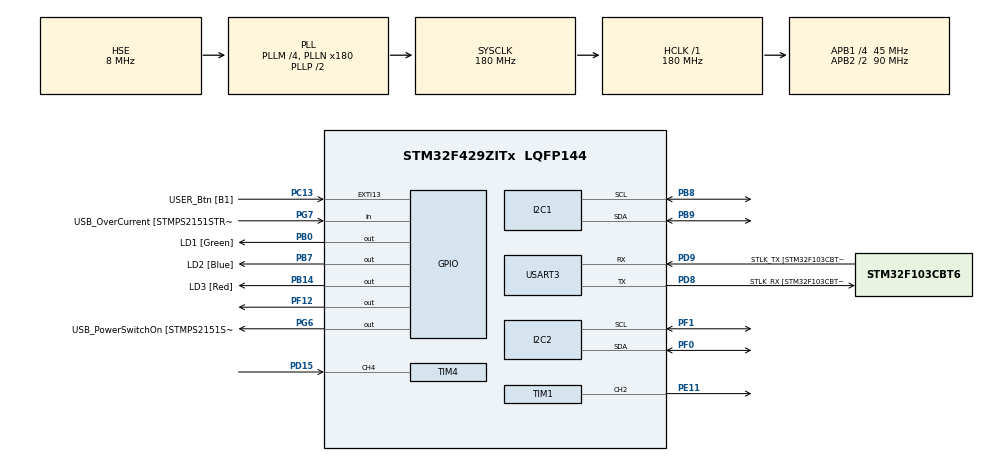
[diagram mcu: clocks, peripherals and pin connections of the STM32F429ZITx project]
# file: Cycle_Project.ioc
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FREERTOS.Queues01=dataQueue01,16,uint16_t,0,Dynamic,NULL,NULL
FREERTOS.Tasks01=AccelTask_Init,24,128,AccelTask,Default,NULL,Dynamic,NULL,NULL;ultraTask_Init,24,128,UltrasonicTask,Default,NULL,Dynamic,NULL,NULL;LCDTask_Init,40,128,LCDTask,Default,NULL,Dynamic,NULL,NULL
Mcu.Family=STM32F4
Mcu.Name=STM32F429ZITx
Mcu.Package=LQFP144
NVIC.I2C1_ER_IRQn=true\:5\:0\:false\:false\:true\:true\:true\:true\:true
NVIC.I2C1_EV_IRQn=true\:5\:0\:false\:false\:true\:true\:true\:true\:true
NVIC.PriorityGroup=NVIC_PRIORITYGROUP_4
NVIC.TIM4_IRQn=true\:5\:0\:false\:false\:true\:true\:true\:true\:true
PA13.GPIO_Label=TMS
PA13.Mode=Serial_Wire
PA13.Signal=SYS_JTMS-SWDIO
PA14.GPIO_Label=TCK
PA14.Mode=Serial_Wire
PA14.Signal=SYS_JTCK-SWCLK
PB0.GPIO_Label=LD1 [Green]
PB0.Signal=GPIO_Output
PB14.GPIO_Label=LD3 [Red]
PB14.Signal=GPIO_Output
PB7.GPIO_Label=LD2 [Blue]
PB7.Signal=GPIO_Output
PB8.Mode=I2C
PB8.Signal=I2C1_SCL
PB9.Mode=I2C
PB9.Signal=I2C1_SDA
PC13.GPIO_Label=USER_Btn [B1]
PC13.Signal=GPXTI13
PC14/OSC32_IN.Mode=LSE-External-Oscillator
PC14/OSC32_IN.Signal=RCC_OSC32_IN
PC15/OSC32_OUT.Mode=LSE-External-Oscillator
PC15/OSC32_OUT.Signal=RCC_OSC32_OUT
PD15.Signal=S_TIM4_CH4
PD8.GPIO_Label=STLK_RX [STM32F103CBT6_PA3]
PD8.Mode=Asynchronous
PD8.Signal=USART3_TX
PD9.GPIO_Label=STLK_TX [STM32F103CBT6_PA2]
PD9.Mode=Asynchronous
PD9.Signal=USART3_RX
PE11.Signal=S_TIM1_CH2
PF0.Mode=I2C
PF0.Signal=I2C2_SDA
PF1.Mode=I2C
PF1.Signal=I2C2_SCL
PF12.Signal=GPIO_Output
PG6.GPIO_Label=USB_PowerSwitchOn [STMPS2151STR_EN]
PG6.Signal=GPIO_Output
PG7.GPIO_Label=USB_OverCurrent [STMPS2151STR_FAULT]
PG7.Signal=GPIO_Input
PH0/OSC_IN.GPIO_Label=MCO [STM32F103CBT6_PA8]
PH0/OSC_IN.Mode=HSE-External-Clock-Source
PH0/OSC_IN.Signal=RCC_OSC_IN
PH1/OSC_OUT.Mode=HSE-External-Clock-Source
PH1/OSC_OUT.Signal=RCC_OSC_OUT
ProjectManager.HeapSize=0x200
ProjectManager.StackSize=0x400
ProjectManager.TargetToolchain=STM32CubeIDE
RCC.48MHZClocksFreq_Value=51428571.428571425
RCC.AHBFreq_Value=180000000
RCC.APB1CLKDivider=RCC_HCLK_DIV4
RCC.APB1Freq_Value=45000000
RCC.APB1TimFreq_Value=90000000
RCC.APB2CLKDivider=RCC_HCLK_DIV2
RCC.APB2Freq_Value=90000000
RCC.APB2TimFreq_Value=180000000
RCC.CortexFreq_Value=180000000
RCC.HCLKFreq_Value=180000000
RCC.HSE_VALUE=8000000
RCC.HSI_VALUE=16000000
RCC.PLLM=4
RCC.PLLMUL=RCC_PLL_MUL9
RCC.PLLN=180
RCC.PLLQ=7
RCC.PLLSourceVirtual=RCC_PLLSOURCE_HSE
RCC.PRESCALERUSB=RCC_USBCLKSOURCE_PLL_DIV1_5
RCC.SYSCLKFreq_VALUE=180000000
RCC.SYSCLKSource=RCC_SYSCLKSOURCE_PLLCLK
RCC.SYSCLKSourceVirtual=RCC_SYSCLKSOURCE_PLLCLK
RCC.USBFreq_Value=48000000
RCC.VCOOutputFreq_Value=360000000
SH.S_TIM1_CH2.0=TIM1_CH2,PWM Generation2 CH2
SH.S_TIM4_CH4.0=TIM4_CH4,Input_Capture4_from_TI4
TIM1.Channel-PWM\ Generation2\ CH2=TIM_CHANNEL_2
TIM1.Period=65535-1
TIM1.Prescaler=180-1
TIM4.Channel-Input_Capture4_from_TI4=TIM_CHANNEL_4
TIM4.Period=65535-1
TIM4.Prescaler=180-1
USART3.VirtualMode=VM_ASYNC
VP_FREERTOS_VS_CMSIS_V2.Mode=CMSIS_V2
VP_TIM1_VS_ClockSourceINT.Mode=Internal
VP_TIM4_VS_ClockSourceINT.Mode=Internal
board=NUCLEO-F429ZI

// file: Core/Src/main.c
/* USER CODE BEGIN Header */
/**
  ******************************************************************************
  * @file           : main.c
  * @brief          : Main program body
  ******************************************************************************
  * @attention
  *
  * Copyright (c) 2025 STMicroelectronics.
  * All rights reserved.
  *
  * This software is licensed under terms that can be found in the LICENSE file
  * in the root directory of this software component.
  * If no LICENSE file comes with this software, it is provided AS-IS.
  *
  ******************************************************************************
  */
/* USER CODE END Header */
#include "main.h"
#include "cmsis_os.h"

#include "stdio.h"
#include "string.h"

#include "Math.h"

#include "i2c-lcd.h"

/* USER CODE BEGIN PD */
#define TRIG_PIN GPIO_PIN_12

#define TRIG_PORT GPIOF

#define MPU_ADDR 0xD0
#define WHO_AM_I 0x75
#define PWR_MGMT 0x6B
#define ACCEL_CONFIG 0x1C
#define GYRO_CONFIG 0x1B
#define ACCEL_OUT_H 0x3B
#define SMPLRT_DIV 0x19
typedef enum{
	DEFAULT_MODE = 0,
	ACCEL_MODE,
	GYRO_MODE
}MPU_State;

MPU_State M = DEFAULT_MODE;

typedef struct{
	uint32_t value1;
	uint32_t value2;

	uint32_t diffrance;

	uint8_t firstcapture;

	uint8_t distance;

}ultra;

ultra u = {0};

typedef struct{
 int16_t ax;
 int16_t ay;
 int16_t az;

 int16_t gx;
 int16_t gy;
 int16_t gz;

 float Rgx;
 float Rgy;
 float Rgz;

 float Rax;
 float Ray;
 float Raz;

 float roll;
 float pitch;

uint8_t gyrodata[6];

}Sensor;

Sensor s;

char buf[256];

char buf2[50];
/* USER CODE END PD */

I2C_HandleTypeDef hi2c1;
I2C_HandleTypeDef hi2c2;

TIM_HandleTypeDef htim1;
TIM_HandleTypeDef htim4;

UART_HandleTypeDef huart3;

/* Definitions for AccelTask_Init */
osThreadId_t AccelTask_InitHandle;
const osThreadAttr_t AccelTask_Init_attributes = {
  .name = "AccelTask_Init",
  .stack_size = 128 * 4,
  .priority = (osPriority_t) osPriorityNormal,
};
/* Definitions for ultraTask_Init */
osThreadId_t ultraTask_InitHandle;
const osThreadAttr_t ultraTask_Init_attributes = {
  .name = "ultraTask_Init",
  .stack_size = 128 * 4,
  .priority = (osPriority_t) osPriorityNormal,
};
/* Definitions for LCDTask_Init */
osThreadId_t LCDTask_InitHandle;
const osThreadAttr_t LCDTask_Init_attributes = {
  .name = "LCDTask_Init",
  .stack_size = 128 * 4,
  .priority = (osPriority_t) osPriorityHigh,
};
/* Definitions for dataQueue01 */
osMessageQueueId_t dataQueue01Handle;
const osMessageQueueAttr_t dataQueue01_attributes = {
  .name = "dataQueue01"
};

void SystemClock_Config(void);
static void MX_GPIO_Init(void);
static void MX_USART3_UART_Init(void);
static void MX_I2C1_Init(void);
static void MX_TIM1_Init(void);
static void MX_TIM4_Init(void);
static void MX_I2C2_Init(void);
void AccelTask(void *argument);
void UltrasonicTask(void *argument);
void LCDTask(void *argument);

/* USER CODE BEGIN 0 */

void MPU_Init(){
   uint8_t check, value;

   HAL_I2C_Mem_Read(&hi2c1,MPU_ADDR,WHO_AM_I,1,&check,1,1000);

   if(check == 104){
	value = 0x00;
	HAL_I2C_Mem_Write(&hi2c1,MPU_ADDR,PWR_MGMT,1,&value,1,1000);

	value = 0x07;
	HAL_I2C_Mem_Write(&hi2c1,MPU_ADDR,SMPLRT_DIV,1,&value,1,1000);

	value = 0x00;
    HAL_I2C_Mem_Write(&hi2c1,MPU_ADDR,ACCEL_CONFIG,1,&value,1,1000);

    value = 0x00;
    HAL_I2C_Mem_Write(&hi2c1,MPU_ADDR,GYRO_CONFIG,1,&value,1,1000);

   }
}

void GYRO_Read(Sensor *g){
	M = GYRO_MODE;

	HAL_I2C_Mem_Read_IT(&hi2c1,MPU_ADDR,ACCEL_OUT_H,1,g->gyrodata,6);
}

void ACCEL_Read(Sensor *g){
	M = ACCEL_MODE;

	HAL_I2C_Mem_Read_IT(&hi2c1,MPU_ADDR,ACCEL_OUT_H,1,g->gyrodata,6);
}

void GYRO_Process(Sensor *g){
	 g->gx = (int16_t)(g->gyrodata[0] << 8 )|(g->gyrodata[1]);
	 g->gy = (int16_t)(g->gyrodata[2] << 8 )|(g->gyrodata[3]);
	 g->gz = (int16_t)(g->gyrodata[4] << 8 )|(g->gyrodata[5]);

	 g->Rgx = (float)g->gx/131.0;;
	 g->Rgy = (float)g->gy/131.0;;
	 g->Rgz = (float)g->gz/131.0;

}

void ACCEL_Process(Sensor *g){
	 g->ax = (int16_t)(g->gyrodata[0] << 8 )|(g->gyrodata[1]);
	 g->ay = (int16_t)(g->gyrodata[2] << 8 )|(g->gyrodata[3]);
	 g->az = (int16_t)(g->gyrodata[4] << 8 )|(g->gyrodata[5]);

	 g->Rax = (float)g->ax/16384.0;
	 g->Ray = (float)g->ay/16384.0;
	 g->Raz = (float)g->az/16384.0;

	 g->roll = atan2(g->ay, g->az) * 180.0f / M_PI;
	 g->pitch = atan2(-g->ax, sqrt(g->ay*g->ay + g->az*g->az)) * 180.0f / M_PI;

}

void delay_us(uint16_t us){
	htim1.Instance-> CNT = 0;
	while(htim1.Instance->CNT < us){}
}

void HAL_I2C_MemRxCpltCallback(I2C_HandleTypeDef *hi2c)
{
	if(hi2c->Instance == I2C1){
	 if(M == GYRO_MODE){
	    	GYRO_Process(&s);
	     }
	     if(M == ACCEL_MODE){
	    	 ACCEL_Process(&s);
	     }
	}
}
void HAL_TIM_IC_CaptureCallback(TIM_HandleTypeDef *htim)
{
	if(htim->Channel == HAL_TIM_ACTIVE_CHANNEL_4){
    if(u.firstcapture == 0)
    {
    	u.value1 = HAL_TIM_ReadCapturedValue(htim, TIM_CHANNEL_4);

    	u.firstcapture = 1;

    	__HAL_TIM_SET_CAPTUREPOLARITY(htim, TIM_CHANNEL_4,TIM_INPUTCHANNELPOLARITY_FALLING);
    }
    else if(u.firstcapture == 1)
    {
        u.value2 = HAL_TIM_ReadCapturedValue(htim, TIM_CHANNEL_4);

        __HAL_TIM_SET_COUNTER(htim,0);

     if(u.value2 > u.value1)
     {
    	 u.diffrance = u.value2 - u.value1;
     }
     else if(u.value1 > u.value2)
     {
    	 u.diffrance = (0xffff - u.value1) + u.value2;
     }

      u.distance = u.diffrance * .034/2;

      u.firstcapture = 0;

      __HAL_TIM_SET_CAPTUREPOLARITY(htim, TIM_CHANNEL_4, TIM_INPUTCHANNELPOLARITY_RISING);

      __HAL_TIM_DISABLE_IT(&htim4, TIM_IT_CC4);

    }
    }
	}

/* USER CODE END 0 */

int main(void)
{

  /* MCU Configuration--------------------------------------------------------*/

  /* Reset of all peripherals, Initializes the Flash interface and the Systick. */
  HAL_Init();

  /* Configure the system clock */
  SystemClock_Config();

  /* Initialize all configured peripherals */
  MX_GPIO_Init();
  MX_USART3_UART_Init();
  MX_I2C1_Init();
  MX_TIM1_Init();
  MX_TIM4_Init();
  MX_I2C2_Init();
  /* USER CODE BEGIN 2 */
  TIM1->CR1 = 0x0001;
  /* USER CODE END 2 */

  /* Init scheduler */
  osKernelInitialize();

  /* Create the queue(s) */
  /* creation of dataQueue01 */
  dataQueue01Handle = osMessageQueueNew (16, sizeof(uint16_t), &dataQueue01_attributes);

  /* Create the thread(s) */
  /* creation of AccelTask_Init */
  AccelTask_InitHandle = osThreadNew(AccelTask, NULL, &AccelTask_Init_attributes);

  /* creation of ultraTask_Init */
  ultraTask_InitHandle = osThreadNew(UltrasonicTask, NULL, &ultraTask_Init_attributes);

  /* creation of LCDTask_Init */
  LCDTask_InitHandle = osThreadNew(LCDTask, NULL, &LCDTask_Init_attributes);

  /* Start scheduler */
  osKernelStart();

  /* We should never get here as control is now taken by the scheduler */

  /* Infinite loop */
  while (1)
  {

  }
}

void SystemClock_Config(void)
{
  RCC_OscInitTypeDef RCC_OscInitStruct = {0};
  RCC_ClkInitTypeDef RCC_ClkInitStruct = {0};

  /** Configure the main internal regulator output voltage
  */
  __HAL_RCC_PWR_CLK_ENABLE();
  __HAL_PWR_VOLTAGESCALING_CONFIG(PWR_REGULATOR_VOLTAGE_SCALE1);

  /** Initializes the RCC Oscillators according to the specified parameters
  * in the RCC_OscInitTypeDef structure.
  */
  RCC_OscInitStruct.OscillatorType = RCC_OSCILLATORTYPE_HSE;
  RCC_OscInitStruct.HSEState = RCC_HSE_BYPASS;
  RCC_OscInitStruct.PLL.PLLState = RCC_PLL_ON;
  RCC_OscInitStruct.PLL.PLLSource = RCC_PLLSOURCE_HSE;
  RCC_OscInitStruct.PLL.PLLM = 4;
  RCC_OscInitStruct.PLL.PLLN = 180;
  RCC_OscInitStruct.PLL.PLLP = RCC_PLLP_DIV2;
  RCC_OscInitStruct.PLL.PLLQ = 7;
  if (HAL_RCC_OscConfig(&RCC_OscInitStruct) != HAL_OK)
  {
    Error_Handler();
  }

  /** Activate the Over-Drive mode
  */
  if (HAL_PWREx_EnableOverDrive() != HAL_OK)
  {
    Error_Handler();
  }

  /** Initializes the CPU, AHB and APB buses clocks
  */
  RCC_ClkInitStruct.ClockType = RCC_CLOCKTYPE_HCLK|RCC_CLOCKTYPE_SYSCLK
                              |RCC_CLOCKTYPE_PCLK1|RCC_CLOCKTYPE_PCLK2;
  RCC_ClkInitStruct.SYSCLKSource = RCC_SYSCLKSOURCE_PLLCLK;
  RCC_ClkInitStruct.AHBCLKDivider = RCC_SYSCLK_DIV1;
  RCC_ClkInitStruct.APB1CLKDivider = RCC_HCLK_DIV4;
  RCC_ClkInitStruct.APB2CLKDivider = RCC_HCLK_DIV2;

  if (HAL_RCC_ClockConfig(&RCC_ClkInitStruct, FLASH_LATENCY_5) != HAL_OK)
  {
    Error_Handler();
  }
}

static void MX_I2C1_Init(void)
{

  hi2c1.Instance = I2C1;
  hi2c1.Init.ClockSpeed = 100000;
  hi2c1.Init.DutyCycle = I2C_DUTYCYCLE_2;
  hi2c1.Init.OwnAddress1 = 0;
  hi2c1.Init.AddressingMode = I2C_ADDRESSINGMODE_7BIT;
  hi2c1.Init.DualAddressMode = I2C_DUALADDRESS_DISABLE;
  hi2c1.Init.OwnAddress2 = 0;
  hi2c1.Init.GeneralCallMode = I2C_GENERALCALL_DISABLE;
  hi2c1.Init.NoStretchMode = I2C_NOSTRETCH_DISABLE;
  if (HAL_I2C_Init(&hi2c1) != HAL_OK)
  {
    Error_Handler();
  }

  /** Configure Analogue filter
  */
  if (HAL_I2CEx_ConfigAnalogFilter(&hi2c1, I2C_ANALOGFILTER_ENABLE) != HAL_OK)
  {
    Error_Handler();
  }

  /** Configure Digital filter
  */
  if (HAL_I2CEx_ConfigDigitalFilter(&hi2c1, 0) != HAL_OK)
  {
    Error_Handler();
  }

}

static void MX_I2C2_Init(void)
{

  hi2c2.Instance = I2C2;
  hi2c2.Init.ClockSpeed = 100000;
  hi2c2.Init.DutyCycle = I2C_DUTYCYCLE_2;
  hi2c2.Init.OwnAddress1 = 0;
  hi2c2.Init.AddressingMode = I2C_ADDRESSINGMODE_7BIT;
  hi2c2.Init.DualAddressMode = I2C_DUALADDRESS_DISABLE;
  hi2c2.Init.OwnAddress2 = 0;
  hi2c2.Init.GeneralCallMode = I2C_GENERALCALL_DISABLE;
  hi2c2.Init.NoStretchMode = I2C_NOSTRETCH_DISABLE;
  if (HAL_I2C_Init(&hi2c2) != HAL_OK)
  {
    Error_Handler();
  }

  /** Configure Analogue filter
  */
  if (HAL_I2CEx_ConfigAnalogFilter(&hi2c2, I2C_ANALOGFILTER_ENABLE) != HAL_OK)
  {
    Error_Handler();
  }

  /** Configure Digital filter
  */
  if (HAL_I2CEx_ConfigDigitalFilter(&hi2c2, 0) != HAL_OK)
  {
    Error_Handler();
  }

}

static void MX_TIM1_Init(void)
{

  TIM_ClockConfigTypeDef sClockSourceConfig = {0};
  TIM_MasterConfigTypeDef sMasterConfig = {0};
  TIM_OC_InitTypeDef sConfigOC = {0};
  TIM_BreakDeadTimeConfigTypeDef sBreakDeadTimeConfig = {0};

  htim1.Instance = TIM1;
  htim1.Init.Prescaler = 180-1;
  htim1.Init.CounterMode = TIM_COUNTERMODE_UP;
  htim1.Init.Period = 65535-1;
  htim1.Init.ClockDivision = TIM_CLOCKDIVISION_DIV1;
  htim1.Init.RepetitionCounter = 0;
  htim1.Init.AutoReloadPreload = TIM_AUTORELOAD_PRELOAD_DISABLE;
  if (HAL_TIM_Base_Init(&htim1) != HAL_OK)
  {
    Error_Handler();
  }
  sClockSourceConfig.ClockSource = TIM_CLOCKSOURCE_INTERNAL;
  if (HAL_TIM_ConfigClockSource(&htim1, &sClockSourceConfig) != HAL_OK)
  {
    Error_Handler();
  }
  if (HAL_TIM_PWM_Init(&htim1) != HAL_OK)
  {
    Error_Handler();
  }
  sMasterConfig.MasterOutputTrigger = TIM_TRGO_RESET;
  sMasterConfig.MasterSlaveMode = TIM_MASTERSLAVEMODE_DISABLE;
  if (HAL_TIMEx_MasterConfigSynchronization(&htim1, &sMasterConfig) != HAL_OK)
  {
    Error_Handler();
  }
  sConfigOC.OCMode = TIM_OCMODE_PWM1;
  sConfigOC.Pulse = 0;
  sConfigOC.OCPolarity = TIM_OCPOLARITY_HIGH;
  sConfigOC.OCNPolarity = TIM_OCNPOLARITY_HIGH;
  sConfigOC.OCFastMode = TIM_OCFAST_DISABLE;
  sConfigOC.OCIdleState = TIM_OCIDLESTATE_RESET;
  sConfigOC.OCNIdleState = TIM_OCNIDLESTATE_RESET;
  if (HAL_TIM_PWM_ConfigChannel(&htim1, &sConfigOC, TIM_CHANNEL_2) != HAL_OK)
  {
    Error_Handler();
  }
  sBreakDeadTimeConfig.OffStateRunMode = TIM_OSSR_DISABLE;
  sBreakDeadTimeConfig.OffStateIDLEMode = TIM_OSSI_DISABLE;
  sBreakDeadTimeConfig.LockLevel = TIM_LOCKLEVEL_OFF;
  sBreakDeadTimeConfig.DeadTime = 0;
  sBreakDeadTimeConfig.BreakState = TIM_BREAK_DISABLE;
  sBreakDeadTimeConfig.BreakPolarity = TIM_BREAKPOLARITY_HIGH;
  sBreakDeadTimeConfig.AutomaticOutput = TIM_AUTOMATICOUTPUT_DISABLE;
  if (HAL_TIMEx_ConfigBreakDeadTime(&htim1, &sBreakDeadTimeConfig) != HAL_OK)
  {
    Error_Handler();
  }
  HAL_TIM_MspPostInit(&htim1);

}

static void MX_TIM4_Init(void)
{

  TIM_ClockConfigTypeDef sClockSourceConfig = {0};
  TIM_MasterConfigTypeDef sMasterConfig = {0};
  TIM_IC_InitTypeDef sConfigIC = {0};

  htim4.Instance = TIM4;
  htim4.Init.Prescaler = 180-1;
  htim4.Init.CounterMode = TIM_COUNTERMODE_UP;
  htim4.Init.Period = 65535-1;
  htim4.Init.ClockDivision = TIM_CLOCKDIVISION_DIV1;
  htim4.Init.AutoReloadPreload = TIM_AUTORELOAD_PRELOAD_DISABLE;
  if (HAL_TIM_Base_Init(&htim4) != HAL_OK)
  {
    Error_Handler();
  }
  sClockSourceConfig.ClockSource = TIM_CLOCKSOURCE_INTERNAL;
  if (HAL_TIM_ConfigClockSource(&htim4, &sClockSourceConfig) != HAL_OK)
  {
    Error_Handler();
  }
  if (HAL_TIM_IC_Init(&htim4) != HAL_OK)
  {
    Error_Handler();
  }
  sMasterConfig.MasterOutputTrigger = TIM_TRGO_RESET;
  sMasterConfig.MasterSlaveMode = TIM_MASTERSLAVEMODE_DISABLE;
  if (HAL_TIMEx_MasterConfigSynchronization(&htim4, &sMasterConfig) != HAL_OK)
  {
    Error_Handler();
  }
  sConfigIC.ICPolarity = TIM_INPUTCHANNELPOLARITY_RISING;
  sConfigIC.ICSelection = TIM_ICSELECTION_DIRECTTI;
  sConfigIC.ICPrescaler = TIM_ICPSC_DIV1;
  sConfigIC.ICFilter = 0;
  if (HAL_TIM_IC_ConfigChannel(&htim4, &sConfigIC, TIM_CHANNEL_4) != HAL_OK)
  {
    Error_Handler();
  }

}

static void MX_USART3_UART_Init(void)
{

  huart3.Instance = USART3;
  huart3.Init.BaudRate = 115200;
  huart3.Init.WordLength = UART_WORDLENGTH_8B;
  huart3.Init.StopBits = UART_STOPBITS_1;
  huart3.Init.Parity = UART_PARITY_NONE;
  huart3.Init.Mode = UART_MODE_TX_RX;
  huart3.Init.HwFlowCtl = UART_HWCONTROL_NONE;
  huart3.Init.OverSampling = UART_OVERSAMPLING_16;
  if (HAL_UART_Init(&huart3) != HAL_OK)
  {
    Error_Handler();
  }

}

static void MX_GPIO_Init(void)
{
  GPIO_InitTypeDef GPIO_InitStruct = {0};

  /* GPIO Ports Clock Enable */
  __HAL_RCC_GPIOC_CLK_ENABLE();
  __HAL_RCC_GPIOF_CLK_ENABLE();
  __HAL_RCC_GPIOH_CLK_ENABLE();
  __HAL_RCC_GPIOB_CLK_ENABLE();
  __HAL_RCC_GPIOE_CLK_ENABLE();
  __HAL_RCC_GPIOD_CLK_ENABLE();
  __HAL_RCC_GPIOG_CLK_ENABLE();
  __HAL_RCC_GPIOA_CLK_ENABLE();

  /*Configure GPIO pin Output Level */
  HAL_GPIO_WritePin(GPIOB, LD1_Pin|LD3_Pin|LD2_Pin, GPIO_PIN_RESET);

  /*Configure GPIO pin Output Level */
  HAL_GPIO_WritePin(GPIOF, GPIO_PIN_12, GPIO_PIN_RESET);

  /*Configure GPIO pin Output Level */
  HAL_GPIO_WritePin(USB_PowerSwitchOn_GPIO_Port, USB_PowerSwitchOn_Pin, GPIO_PIN_RESET);

  /*Configure GPIO pin : USER_Btn_Pin */
  GPIO_InitStruct.Pin = USER_Btn_Pin;
  GPIO_InitStruct.Mode = GPIO_MODE_IT_RISING;
  GPIO_InitStruct.Pull = GPIO_NOPULL;
  HAL_GPIO_Init(USER_Btn_GPIO_Port, &GPIO_InitStruct);

  /*Configure GPIO pins : LD1_Pin LD3_Pin LD2_Pin */
  GPIO_InitStruct.Pin = LD1_Pin|LD3_Pin|LD2_Pin;
  GPIO_InitStruct.Mode = GPIO_MODE_OUTPUT_PP;
  GPIO_InitStruct.Pull = GPIO_NOPULL;
  GPIO_InitStruct.Speed = GPIO_SPEED_FREQ_LOW;
  HAL_GPIO_Init(GPIOB, &GPIO_InitStruct);

  /*Configure GPIO pin : PF12 */
  GPIO_InitStruct.Pin = GPIO_PIN_12;
  GPIO_InitStruct.Mode = GPIO_MODE_OUTPUT_PP;
  GPIO_InitStruct.Pull = GPIO_NOPULL;
  GPIO_InitStruct.Speed = GPIO_SPEED_FREQ_LOW;
  HAL_GPIO_Init(GPIOF, &GPIO_InitStruct);

  /*Configure GPIO pin : USB_PowerSwitchOn_Pin */
  GPIO_InitStruct.Pin = USB_PowerSwitchOn_Pin;
  GPIO_InitStruct.Mode = GPIO_MODE_OUTPUT_PP;
  GPIO_InitStruct.Pull = GPIO_NOPULL;
  GPIO_InitStruct.Speed = GPIO_SPEED_FREQ_LOW;
  HAL_GPIO_Init(USB_PowerSwitchOn_GPIO_Port, &GPIO_InitStruct);

  /*Configure GPIO pin : USB_OverCurrent_Pin */
  GPIO_InitStruct.Pin = USB_OverCurrent_Pin;
  GPIO_InitStruct.Mode = GPIO_MODE_INPUT;
  GPIO_InitStruct.Pull = GPIO_NOPULL;
  HAL_GPIO_Init(USB_OverCurrent_GPIO_Port, &GPIO_InitStruct);

}

void AccelTask(void *argument)
{
  /* USER CODE BEGIN 5 */
	lcd_init();
	MPU_Init();

	lcd_clear();

  /* Infinite loop */
  for(;;)
  {
	  ACCEL_Read(&s);
      osDelay(10);
      GYRO_Read(&s);
      osDelay(10);
      sprintf(buf,"%.2f,%.2f\r\n",s.roll,s.pitch);
      lcd_send_string(buf);

      lcd_put_cur (1,0);
      HAL_UART_Transmit(&huart3,(uint8_t*)buf,strlen(buf),10);

       osDelay(1000);
  }
  /* USER CODE END 5 */
}

void UltrasonicTask(void *argument)
{
  /* USER CODE BEGIN UltrasonicTask */
	HAL_TIM_IC_Start_IT(&htim4,TIM_CHANNEL_4);
  /* Infinite loop */
  for(;;)
  {
    HAL_GPIO_WritePin(TRIG_PORT,TRIG_PIN,GPIO_PIN_SET);
    delay_us(10);
    HAL_GPIO_WritePin(TRIG_PORT,TRIG_PIN,GPIO_PIN_RESET);
    __HAL_TIM_ENABLE_IT(&htim4, TIM_IT_CC4);
    sprintf(buf2, "%d\r\n", u.distance);
    lcd_send_string(buf2);

    lcd_put_cur(0,0);
    HAL_UART_Transmit(&huart3,buf2,strlen(buf2),10);
    osDelay(1000);

  }
  /* USER CODE END UltrasonicTask */
}

void LCDTask(void *argument)
{
  for(;;)
  {
    osDelay(1);
  }
}

void Error_Handler(void)
{
  __disable_irq();
  while (1)
  {
  }
}
